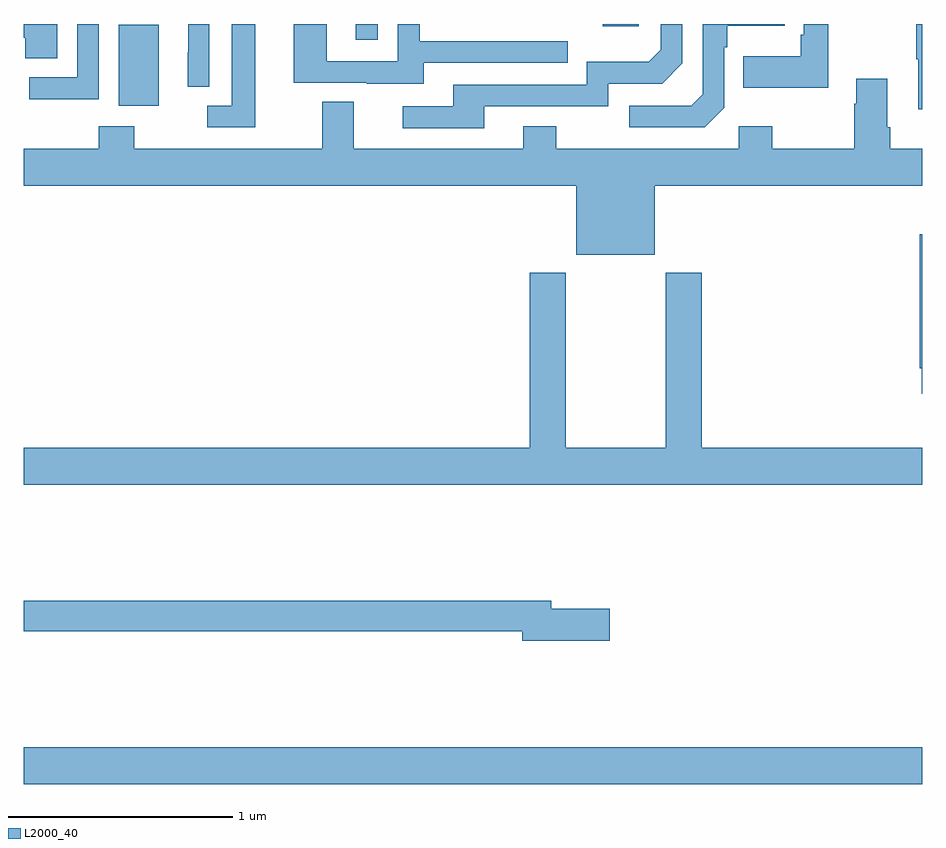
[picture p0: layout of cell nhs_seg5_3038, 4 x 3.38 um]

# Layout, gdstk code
import gdstk
lib = gdstk.Library(unit=1e-6, precision=1e-09)
def R(c, l, rs):  # rectangles x0, y0, x1, y1
    for r in rs: c.add(gdstk.rectangle(r[:2], r[2:], *l))
def P(c, l, *ps):  # polygons
    for p in ps: c.add(gdstk.Polygon(p, *l))
L2000_40 = (2000, 40)

nhs_seg5_3038 = lib.new_cell('nhs_seg5_3038')
R(nhs_seg5_3038, L2000_40, [(287,867.416,291,867.58), (287.423,870.434,287.602,870.795), (288.479,870.729,288.576,870.799), (289.577,870.788,289.738,870.799)])
P(nhs_seg5_3038, L2000_40, [(287.334,870.799),(287.238,870.799),(287.238,870.561),(287.025,870.561),(287.025,870.463),(287.334,870.463)],
  [(288.031,870.799),(287.927,870.799),(287.927,870.435),(287.817,870.435),(287.817,870.339),(288.031,870.339)],
  [(287.149,870.799),(287,870.799),(287,870.737),(287.006,870.737),(287.006,870.646),(287.149,870.646)],
  [(290.118,870.426),(290.118,870.695),(290.131,870.695),(290.131,870.791),(290.387,870.791),(290.387,870.799),(290.022,870.799),(290.022,870.486),(289.971,870.435),(289.695,870.435),(289.695,870.339),(290.031,870.339)],
  [(291,870.799),(290.974,870.799),(290.974,870.643),(290.981,870.643),(290.981,870.42),(291,870.42)],
  [(290.581,870.799),(290.472,870.799),(290.472,870.751),(290.46,870.751),(290.46,870.655),(290.203,870.655),(290.203,870.515),(290.581,870.515)],
  [(289.051,870.432),(289.602,870.432),(289.602,870.534),(289.842,870.534),(289.932,870.624),(289.932,870.799),(289.836,870.799),(289.836,870.684),(289.783,870.631),(289.506,870.631),(289.506,870.528),(288.911,870.528),(288.911,870.432),(288.687,870.432),(288.687,870.336),(289.051,870.336)],
  [(287.826,870.799),(287.73,870.799),(287.732,870.797),(287.732,870.674),(287.73,870.674),(287.73,870.52),(287.826,870.52)],
  [(288.781,870.627),(289.421,870.627),(289.421,870.723),(288.762,870.723),(288.762,870.799),(288.666,870.799),(288.666,870.633),(288.348,870.633),(288.348,870.799),(288.203,870.799),(288.203,870.537),(288.527,870.537),(288.527,870.533),(288.781,870.533)],
  [(289.81,870.08),(291,870.08),(291,870.244),(290.858,870.244),(290.858,870.34),(290.845,870.34),(290.845,870.556),(290.705,870.556),(290.705,870.443),(290.698,870.443),(290.698,870.244),(290.331,870.244),(290.331,870.343),(290.184,870.343),(290.184,870.244),(289.371,870.244),(289.371,870.343),(289.223,870.343),(289.223,870.244),(288.469,870.244),(288.469,870.452),(288.329,870.452),(288.329,870.244),(287.493,870.244),(287.493,870.343),(287.333,870.343),(287.333,870.244),(287,870.244),(287,870.08),(289.46,870.08),(289.46,869.771),(289.81,869.771)],
  [(291,869.864),(290.989,869.864),(290.989,869.266),(290.997,869.266),(290.997,869.154),(291,869.154)],
  [(291,868.912),(290.018,868.912),(290.018,869.692),(289.858,869.692),(289.858,868.912),(289.413,868.912),(289.413,869.692),(289.253,869.692),(289.253,868.912),(287,868.912),(287,868.748),(291,868.748)],
  [(289.609,868.196),(289.348,868.196),(289.348,868.232),(287,868.232),(287,868.096),(289.22,868.096),(289.22,868.054),(289.609,868.054)])

lib.write_gds('nhs_seg5_3038.gds')
